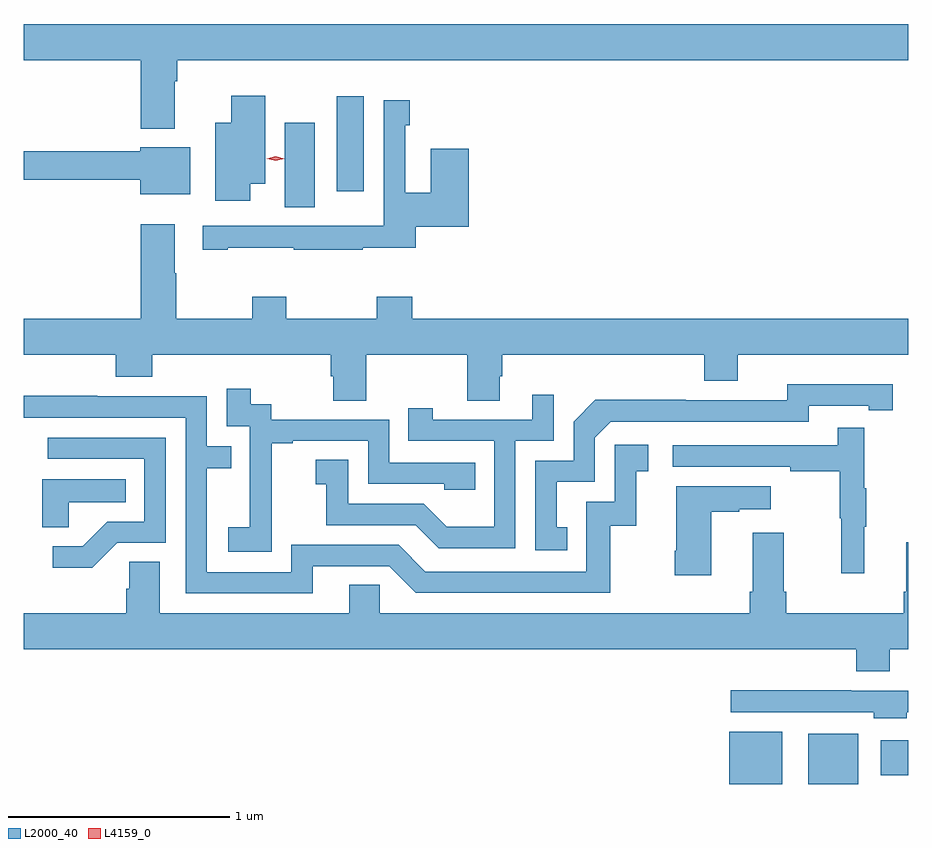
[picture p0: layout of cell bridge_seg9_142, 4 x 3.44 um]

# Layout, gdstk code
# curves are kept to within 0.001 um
import gdstk
lib = gdstk.Library(unit=1e-6, precision=1e-09)
def R(c, l, rs):  # rectangles x0, y0, x1, y1
    for r in rs: c.add(gdstk.rectangle(r[:2], r[2:], *l))
def P(c, l, *ps):  # polygons
    for p in ps: c.add(gdstk.Polygon(p, *l))
L2000_40 = (2000, 40)
L4159_0 = (4159, 0)

bridge_seg9_142 = lib.new_cell('bridge_seg9_142')
R(bridge_seg9_142, L2000_40, [(588.938,1167.839,589.177,1168.075), (589.295,1167.839,589.522,1168.066), (589.623,1167.878,589.747,1168.036), (586.928,1170.448,587.062,1170.829), (587.162,1170.519,587.284,1170.949)])
P(bridge_seg9_142, L2000_40, [(586.429,1171.016),(586.442,1171.016),(586.442,1171.112),(589.747,1171.112),(589.747,1171.276),(585.747,1171.276),(585.747,1171.112),(586.277,1171.112),(586.277,1170.803),(586.429,1170.803)],
  [(586.771,1170.554),(586.84,1170.554),(586.84,1170.952),(586.685,1170.952),(586.685,1170.829),(586.613,1170.829),(586.613,1170.477),(586.771,1170.477)],
  [(586.669,1170.265),(586.969,1170.265),(586.969,1170.255),(587.279,1170.255),(587.279,1170.265),(587.519,1170.265),(587.519,1170.359),(587.759,1170.359),(587.759,1170.712),(587.588,1170.712),(587.588,1170.512),(587.472,1170.512),(587.472,1170.818),(587.492,1170.818),(587.492,1170.931),(587.376,1170.931),(587.376,1170.364),(587.166,1170.364),(587.166,1170.363),(586.557,1170.363),(586.557,1170.255),(586.669,1170.255)],
  [(586.501,1170.718),(586.274,1170.718),(586.274,1170.7),(585.747,1170.7),(585.747,1170.571),(586.274,1170.571),(586.274,1170.506),(586.501,1170.506)],
  [(587.295,1169.78),(587.752,1169.78),(587.752,1169.572),(587.899,1169.572),(587.899,1169.682),(587.912,1169.682),(587.912,1169.78),(588.824,1169.78),(588.824,1169.663),(588.976,1169.663),(588.976,1169.78),(589.747,1169.78),(589.747,1169.944),(587.504,1169.944),(587.504,1170.043),(587.344,1170.043),(587.344,1169.944),(586.935,1169.944),(586.935,1170.043),(586.78,1170.043),(586.78,1169.944),(586.437,1169.944),(586.437,1170.149),(586.429,1170.149),(586.429,1170.37),(586.277,1170.37),(586.277,1169.944),(585.747,1169.944),(585.747,1169.78),(586.163,1169.78),(586.163,1169.681),(586.328,1169.681),(586.328,1169.78),(587.135,1169.78),(587.135,1169.682),(587.147,1169.682),(587.147,1169.572),(587.295,1169.572)],
  [(588.206,1169.001),(588.157,1169.001),(588.157,1169.205),(588.33,1169.205),(588.33,1169.406),(588.402,1169.478),(589.296,1169.478),(589.296,1169.55),(589.568,1169.55),(589.568,1169.53),(589.676,1169.53),(589.676,1169.646),(589.2,1169.647),(589.2,1169.574),(588.74,1169.574),(588.74,1169.576),(588.332,1169.576),(588.234,1169.478),(588.234,1169.301),(588.06,1169.301),(588.06,1168.896),(588.206,1168.896)],
  [(586.869,1169.095),(586.868,1169.095),(586.868,1169.379),(586.963,1169.379),(586.963,1169.391),(587.304,1169.391),(587.304,1169.196),(587.649,1169.196),(587.649,1169.169),(587.789,1169.169),(587.789,1169.292),(587.4,1169.292),(587.4,1169.487),(586.866,1169.487),(586.866,1169.556),(586.774,1169.556),(586.774,1169.626),(586.665,1169.626),(586.665,1169.457),(586.77,1169.457),(586.77,1169.228),(586.769,1169.228),(586.769,1168.999),(586.671,1168.999),(586.671,1168.889),(586.869,1168.889)],
  [(587.97,1169.391),(588.144,1169.391),(588.144,1169.599),(588.047,1169.599),(588.047,1169.487),(587.596,1169.487),(587.596,1169.539),(587.485,1169.539),(587.485,1169.391),(587.874,1169.391),(587.874,1169.002),(587.66,1169.002),(587.556,1169.106),(587.214,1169.106),(587.214,1169.305),(587.067,1169.305),(587.067,1169.195),(587.116,1169.195),(587.116,1169.01),(587.519,1169.01),(587.624,1168.905),(587.97,1168.905)],
  [(587.053,1168.824),(587.4,1168.824),(587.52,1168.704),(588.4,1168.704),(588.4,1169.007),(588.518,1169.007),(588.518,1169.253),(588.571,1169.253),(588.571,1169.374),(588.42,1169.374),(588.42,1169.115),(588.291,1169.115),(588.291,1168.8),(587.562,1168.8),(587.442,1168.92),(586.956,1168.92),(586.956,1168.797),(586.575,1168.797),(586.575,1169.266),(586.685,1169.266),(586.685,1169.367),(586.575,1169.367),(586.575,1169.592),(586.079,1169.592),(586.079,1169.594),(585.747,1169.594),(585.747,1169.496),(586.479,1169.496),(586.479,1168.701),(587.053,1168.701)],
  [(589.547,1169.003),(589.558,1169.003),(589.558,1169.177),(589.547,1169.177),(589.547,1169.449),(589.429,1169.449),(589.429,1169.37),(588.681,1169.37),(588.681,1169.274),(589.213,1169.274),(589.213,1169.254),(589.437,1169.254),(589.437,1169.04),(589.444,1169.04),(589.444,1168.791),(589.547,1168.791)],
  [(586.17,1168.929),(586.389,1168.929),(586.389,1169.406),(585.855,1169.406),(585.855,1169.31),(586.293,1169.31),(586.293,1169.025),(586.124,1169.025),(586.013,1168.914),(585.879,1168.914),(585.879,1168.817),(586.057,1168.817)],
  [(585.951,1169.114),(586.208,1169.114),(586.208,1169.218),(585.83,1169.218),(585.83,1168.999),(585.951,1168.999)],
  [(588.856,1169.071),(588.983,1169.071),(588.983,1169.081),(589.126,1169.081),(589.126,1169.185),(588.698,1169.185),(588.698,1168.894),(588.691,1168.894),(588.691,1168.782),(588.856,1168.782)],
  [(589.511,1168.349),(589.663,1168.349),(589.663,1168.448),(589.747,1168.448),(589.747,1168.933),(589.739,1168.933),(589.739,1168.708),(589.727,1168.708),(589.727,1168.612),(589.196,1168.612),(589.196,1168.708),(589.183,1168.708),(589.183,1168.975),(589.043,1168.975),(589.043,1168.708),(589.031,1168.708),(589.031,1168.612),(587.358,1168.612),(587.358,1168.739),(587.219,1168.739),(587.219,1168.612),(586.363,1168.612),(586.363,1168.844),(586.224,1168.844),(586.224,1168.721),(586.211,1168.721),(586.211,1168.612),(585.747,1168.612),(585.747,1168.448),(589.511,1168.448)],
  [(589.74,1168.164),(589.747,1168.164),(589.747,1168.26),(589.49,1168.26),(589.49,1168.262),(588.945,1168.262),(588.945,1168.164),(589.59,1168.164),(589.59,1168.136),(589.74,1168.136)])
P(bridge_seg9_142, L4159_0, [(586.886,1170.657),(586.846,1170.666),(586.846,1170.667),(586.846,1170.667),(586.886,1170.677),(586.926,1170.667),(586.926,1170.667),(586.926,1170.666)])

lib.write_gds('bridge_seg9_142.gds')
